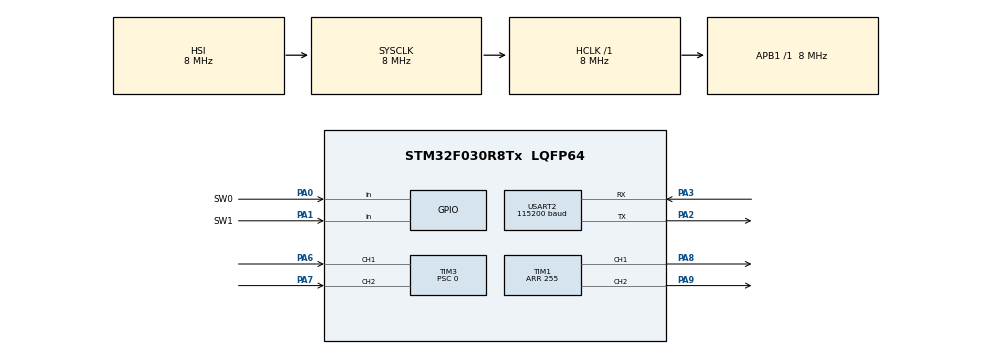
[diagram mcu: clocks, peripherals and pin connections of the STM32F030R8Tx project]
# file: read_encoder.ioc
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Mcu.Family=STM32F0
Mcu.Name=STM32F030R8Tx
Mcu.Package=LQFP64
NVIC.TIM3_IRQn=true\:0\:0\:false\:false\:true\:true\:true\:true
NVIC.TIM6_IRQn=true\:0\:0\:false\:false\:true\:true\:true\:true
PA0.GPIO_Label=SW0
PA0.GPIO_PuPd=GPIO_PULLDOWN
PA0.Signal=GPIO_Input
PA1.GPIO_Label=SW1
PA1.GPIO_PuPd=GPIO_PULLDOWN
PA1.Signal=GPIO_Input
PA2.Mode=Asynchronous
PA2.Signal=USART2_TX
PA3.Mode=Asynchronous
PA3.Signal=USART2_RX
PA6.Signal=S_TIM3_CH1
PA7.Signal=S_TIM3_CH2
PA8.Signal=S_TIM1_CH1
PA9.Signal=S_TIM1_CH2
ProjectManager.HeapSize=0x200
ProjectManager.StackSize=0x400
ProjectManager.TargetToolchain=STM32CubeIDE
RCC.AHBFreq_Value=8000000
RCC.APB1Freq_Value=8000000
RCC.APB1TimFreq_Value=8000000
RCC.HCLKFreq_Value=8000000
RCC.SYSCLKFreq_VALUE=8000000
SH.S_TIM1_CH1.0=TIM1_CH1,PWM Generation1 CH1
SH.S_TIM1_CH2.0=TIM1_CH2,PWM Generation2 CH2
SH.S_TIM3_CH1.0=TIM3_CH1,Encoder_Interface
SH.S_TIM3_CH2.0=TIM3_CH2,Encoder_Interface
TIM1.Channel-PWM\ Generation1\ CH1=TIM_CHANNEL_1
TIM1.Channel-PWM\ Generation2\ CH2=TIM_CHANNEL_2
TIM1.Period=255
TIM3.AutoReloadPreload=TIM_AUTORELOAD_PRELOAD_DISABLE
TIM3.EncoderMode=TIM_ENCODERMODE_TI1
TIM3.Period=65535
TIM3.Prescaler=0
TIM6.Period=7999
TIM6.Prescaler=9
USART2.BaudRate=115200
USART2.VirtualMode-Asynchronous=VM_ASYNC
VP_TIM6_VS_ClockSourceINT.Mode=Enable_Timer
board=custom

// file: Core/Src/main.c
/* USER CODE BEGIN Header */
/**
  ******************************************************************************
  * @file           : main.c
  * @brief          : Main program body
  ******************************************************************************
  * @attention
  *
  * Copyright (c) 2023 STMicroelectronics.
  * All rights reserved.
  *
  * This software is licensed under terms that can be found in the LICENSE file
  * in the root directory of this software component.
  * If no LICENSE file comes with this software, it is provided AS-IS.
  *
  ******************************************************************************
  */
/* USER CODE END Header */
#include "main.h"

/* USER CODE BEGIN Includes */
#include <stdio.h>
#include "math.h"
#include <stdlib.h>
/* USER CODE END Includes */

/* USER CODE BEGIN PD */
#define min(a,b) (((a) < (b)) ? (a) : (b))
#define max(a,b) (((a) > (b)) ? (a) : (b))
/* USER CODE END PD */

TIM_HandleTypeDef htim1;
TIM_HandleTypeDef htim3;
TIM_HandleTypeDef htim6;

UART_HandleTypeDef huart2;

void SystemClock_Config(void);
static void MX_GPIO_Init(void);
static void MX_TIM3_Init(void);
static void MX_USART2_UART_Init(void);
static void MX_TIM1_Init(void);
static void MX_TIM6_Init(void);

/* USER CODE BEGIN 0 */
int ei_ = 0;

int read_encoder_count(void)
{
  int enc_buff = (int16_t) TIM3->CNT;
  TIM3->CNT = 0;
  return enc_buff;
}

int calculate_rpm(int timer_count)
{
	// motor specification
	const int PPR = 7;
	const int encoder_num = 2;
	const int gear_ratio = 100;

	// timer specification
	const int prescaler = htim6.Init.Prescaler + 1;
	const int period = htim6.Init.Period + 1;
	const int clock_frequency = HAL_RCC_GetPCLK1Freq();
	const double frequency = (double) clock_frequency / ((double) prescaler * period);
	const double interval = 1.0 / frequency;

	// rpm calculation
	const double timer_count_in_1s = (double) timer_count / interval;
	const int measured_rpm = (60 * timer_count_in_1s) / (PPR * gear_ratio * encoder_num);
	return measured_rpm;
}

int calculate_pid_cmd(int target_rpm, int measured_rpm)
{
	// pid gain and parameter
  	const int kp = 1;
  	const int ki = 1;
  	const int ff = 100;
  	const int max_ei  = 300;
  	const int max_cmd = 255;

  	// deviation calculation
  	const int e = target_rpm - abs(measured_rpm);
  	ei_ += e;
  	ei_ = max(min(ei_, max_ei), -max_ei);

  	// command calculation
  	int cmd = kp * e + ki * ei_ + ff;
  	cmd = max(min(max_cmd, cmd), 0);

  	return cmd;
}

void control_motor_when_button_pressed(int target_rpm, const int measured_rpm)
{
	// check button states
	const uint8_t button_state0 = HAL_GPIO_ReadPin(SW0_GPIO_Port, SW0_Pin);
  	const uint8_t button_state1 = HAL_GPIO_ReadPin(SW1_GPIO_Port, SW1_Pin);

  	// calculate pid command
  	target_rpm = button_state0 != button_state1 ? target_rpm : 0;
  	const int cmd = calculate_pid_cmd(target_rpm, measured_rpm);

  	// blue button: clockwise
  	if (button_state0 == 1) __HAL_TIM_SET_COMPARE(&htim1, TIM_CHANNEL_1, cmd);
  	else __HAL_TIM_SET_COMPARE(&htim1, TIM_CHANNEL_1, 0);

  	// red button: counter-clockwise
  	if (button_state1 == 1) __HAL_TIM_SET_COMPARE(&htim1, TIM_CHANNEL_2, cmd);
  	else __HAL_TIM_SET_COMPARE(&htim1, TIM_CHANNEL_2, 0);
}

void HAL_TIM_IC_CaptureCallback(TIM_HandleTypeDef *htim)
{
}

void HAL_TIM_OC_DelayElapsedCallback(TIM_HandleTypeDef *htim)
{
}

void HAL_TIM_PeriodElapsedCallback(TIM_HandleTypeDef *htim)
{
	if ( htim == &htim6 )
    {
		int enc_count = read_encoder_count();
		int target_rpm = 60;
		int measured_rpm = calculate_rpm(enc_count);
		printf("%d\n\r", measured_rpm);

		control_motor_when_button_pressed(target_rpm, measured_rpm);
    }
}
/* USER CODE END 0 */

int main(void)
{
  /* USER CODE BEGIN 1 */
  setbuf(stdout, NULL);
  /* USER CODE END 1 */

  /* MCU Configuration--------------------------------------------------------*/

  /* Reset of all peripherals, Initializes the Flash interface and the Systick. */
  HAL_Init();

  /* Configure the system clock */
  SystemClock_Config();

  /* Initialize all configured peripherals */
  MX_GPIO_Init();
  MX_USART2_UART_Init();
  MX_TIM1_Init();
  MX_TIM3_Init();
  MX_TIM6_Init();
  /* USER CODE BEGIN 2 */
  HAL_TIM_PWM_Start(&htim1, TIM_CHANNEL_1);
  HAL_TIM_PWM_Start(&htim1, TIM_CHANNEL_2);
  HAL_TIM_Encoder_Start(&htim3, TIM_CHANNEL_ALL);
  HAL_TIM_IC_Start_IT(&htim3, TIM_CHANNEL_ALL);
  HAL_TIM_Base_Start_IT(&htim6);
  /* USER CODE END 2 */

  /* Infinite loop */
  while (1)
  {

  }
}

void SystemClock_Config(void)
{
  RCC_OscInitTypeDef RCC_OscInitStruct = {0};
  RCC_ClkInitTypeDef RCC_ClkInitStruct = {0};

  /** Initializes the RCC Oscillators according to the specified parameters
  * in the RCC_OscInitTypeDef structure.
  */
  RCC_OscInitStruct.OscillatorType = RCC_OSCILLATORTYPE_HSI;
  RCC_OscInitStruct.HSIState = RCC_HSI_ON;
  RCC_OscInitStruct.HSICalibrationValue = RCC_HSICALIBRATION_DEFAULT;
  RCC_OscInitStruct.PLL.PLLState = RCC_PLL_NONE;
  if (HAL_RCC_OscConfig(&RCC_OscInitStruct) != HAL_OK)
  {
    Error_Handler();
  }

  /** Initializes the CPU, AHB and APB buses clocks
  */
  RCC_ClkInitStruct.ClockType = RCC_CLOCKTYPE_HCLK|RCC_CLOCKTYPE_SYSCLK
                              |RCC_CLOCKTYPE_PCLK1;
  RCC_ClkInitStruct.SYSCLKSource = RCC_SYSCLKSOURCE_HSI;
  RCC_ClkInitStruct.AHBCLKDivider = RCC_SYSCLK_DIV1;
  RCC_ClkInitStruct.APB1CLKDivider = RCC_HCLK_DIV1;

  if (HAL_RCC_ClockConfig(&RCC_ClkInitStruct, FLASH_LATENCY_0) != HAL_OK)
  {
    Error_Handler();
  }
}

static void MX_TIM1_Init(void)
{

  TIM_MasterConfigTypeDef sMasterConfig = {0};
  TIM_OC_InitTypeDef sConfigOC = {0};
  TIM_BreakDeadTimeConfigTypeDef sBreakDeadTimeConfig = {0};

  htim1.Instance = TIM1;
  htim1.Init.Prescaler = 0;
  htim1.Init.CounterMode = TIM_COUNTERMODE_UP;
  htim1.Init.Period = 255;
  htim1.Init.ClockDivision = TIM_CLOCKDIVISION_DIV1;
  htim1.Init.RepetitionCounter = 0;
  htim1.Init.AutoReloadPreload = TIM_AUTORELOAD_PRELOAD_DISABLE;
  if (HAL_TIM_PWM_Init(&htim1) != HAL_OK)
  {
    Error_Handler();
  }
  sMasterConfig.MasterOutputTrigger = TIM_TRGO_RESET;
  sMasterConfig.MasterSlaveMode = TIM_MASTERSLAVEMODE_DISABLE;
  if (HAL_TIMEx_MasterConfigSynchronization(&htim1, &sMasterConfig) != HAL_OK)
  {
    Error_Handler();
  }
  sConfigOC.OCMode = TIM_OCMODE_PWM1;
  sConfigOC.Pulse = 0;
  sConfigOC.OCPolarity = TIM_OCPOLARITY_HIGH;
  sConfigOC.OCNPolarity = TIM_OCNPOLARITY_HIGH;
  sConfigOC.OCFastMode = TIM_OCFAST_DISABLE;
  sConfigOC.OCIdleState = TIM_OCIDLESTATE_RESET;
  sConfigOC.OCNIdleState = TIM_OCNIDLESTATE_RESET;
  if (HAL_TIM_PWM_ConfigChannel(&htim1, &sConfigOC, TIM_CHANNEL_1) != HAL_OK)
  {
    Error_Handler();
  }
  if (HAL_TIM_PWM_ConfigChannel(&htim1, &sConfigOC, TIM_CHANNEL_2) != HAL_OK)
  {
    Error_Handler();
  }
  sBreakDeadTimeConfig.OffStateRunMode = TIM_OSSR_DISABLE;
  sBreakDeadTimeConfig.OffStateIDLEMode = TIM_OSSI_DISABLE;
  sBreakDeadTimeConfig.LockLevel = TIM_LOCKLEVEL_OFF;
  sBreakDeadTimeConfig.DeadTime = 0;
  sBreakDeadTimeConfig.BreakState = TIM_BREAK_DISABLE;
  sBreakDeadTimeConfig.BreakPolarity = TIM_BREAKPOLARITY_HIGH;
  sBreakDeadTimeConfig.AutomaticOutput = TIM_AUTOMATICOUTPUT_DISABLE;
  if (HAL_TIMEx_ConfigBreakDeadTime(&htim1, &sBreakDeadTimeConfig) != HAL_OK)
  {
    Error_Handler();
  }
  HAL_TIM_MspPostInit(&htim1);

}

static void MX_TIM3_Init(void)
{

  TIM_Encoder_InitTypeDef sConfig = {0};
  TIM_MasterConfigTypeDef sMasterConfig = {0};

  htim3.Instance = TIM3;
  htim3.Init.Prescaler = 0;
  htim3.Init.CounterMode = TIM_COUNTERMODE_UP;
  htim3.Init.Period = 65535;
  htim3.Init.ClockDivision = TIM_CLOCKDIVISION_DIV1;
  htim3.Init.AutoReloadPreload = TIM_AUTORELOAD_PRELOAD_DISABLE;
  sConfig.EncoderMode = TIM_ENCODERMODE_TI1;
  sConfig.IC1Polarity = TIM_ICPOLARITY_RISING;
  sConfig.IC1Selection = TIM_ICSELECTION_DIRECTTI;
  sConfig.IC1Prescaler = TIM_ICPSC_DIV1;
  sConfig.IC1Filter = 0;
  sConfig.IC2Polarity = TIM_ICPOLARITY_RISING;
  sConfig.IC2Selection = TIM_ICSELECTION_DIRECTTI;
  sConfig.IC2Prescaler = TIM_ICPSC_DIV1;
  sConfig.IC2Filter = 0;
  if (HAL_TIM_Encoder_Init(&htim3, &sConfig) != HAL_OK)
  {
    Error_Handler();
  }
  sMasterConfig.MasterOutputTrigger = TIM_TRGO_RESET;
  sMasterConfig.MasterSlaveMode = TIM_MASTERSLAVEMODE_DISABLE;
  if (HAL_TIMEx_MasterConfigSynchronization(&htim3, &sMasterConfig) != HAL_OK)
  {
    Error_Handler();
  }

}

static void MX_TIM6_Init(void)
{

  htim6.Instance = TIM6;
  htim6.Init.Prescaler = 9;
  htim6.Init.CounterMode = TIM_COUNTERMODE_UP;
  htim6.Init.Period = 7999;
  htim6.Init.AutoReloadPreload = TIM_AUTORELOAD_PRELOAD_DISABLE;
  if (HAL_TIM_Base_Init(&htim6) != HAL_OK)
  {
    Error_Handler();
  }

}

static void MX_USART2_UART_Init(void)
{

  huart2.Instance = USART2;
  huart2.Init.BaudRate = 115200;
  huart2.Init.WordLength = UART_WORDLENGTH_8B;
  huart2.Init.StopBits = UART_STOPBITS_1;
  huart2.Init.Parity = UART_PARITY_NONE;
  huart2.Init.Mode = UART_MODE_TX_RX;
  huart2.Init.HwFlowCtl = UART_HWCONTROL_NONE;
  huart2.Init.OverSampling = UART_OVERSAMPLING_16;
  huart2.Init.OneBitSampling = UART_ONE_BIT_SAMPLE_DISABLE;
  huart2.AdvancedInit.AdvFeatureInit = UART_ADVFEATURE_NO_INIT;
  if (HAL_UART_Init(&huart2) != HAL_OK)
  {
    Error_Handler();
  }

}

static void MX_GPIO_Init(void)
{
  GPIO_InitTypeDef GPIO_InitStruct = {0};

  /* GPIO Ports Clock Enable */
  __HAL_RCC_GPIOA_CLK_ENABLE();

  /*Configure GPIO pins : SW0_Pin SW1_Pin */
  GPIO_InitStruct.Pin = SW0_Pin|SW1_Pin;
  GPIO_InitStruct.Mode = GPIO_MODE_INPUT;
  GPIO_InitStruct.Pull = GPIO_PULLDOWN;
  HAL_GPIO_Init(GPIOA, &GPIO_InitStruct);

}

/* USER CODE BEGIN 4 */
int _write(int file, char *ptr, int len)
{
  HAL_UART_Transmit(&huart2,(uint8_t *)ptr, len, 10);
  return len;
}
/* USER CODE END 4 */

void Error_Handler(void)
{
  __disable_irq();
  while (1)
  {
  }
}
